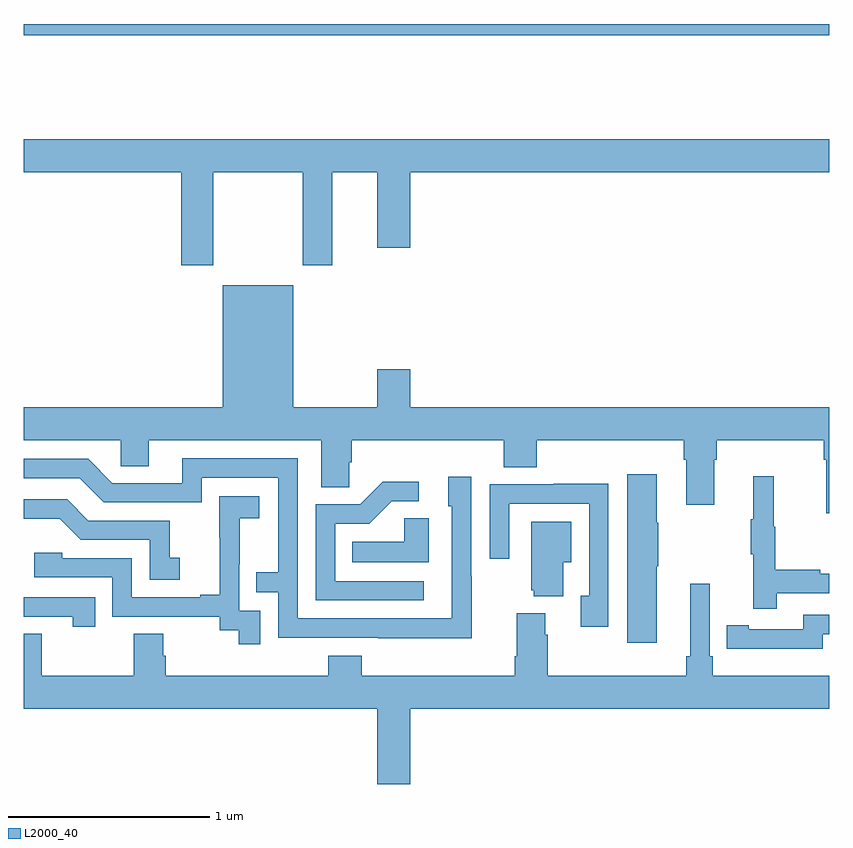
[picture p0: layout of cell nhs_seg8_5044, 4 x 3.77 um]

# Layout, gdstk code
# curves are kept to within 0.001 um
import gdstk
lib = gdstk.Library(unit=1e-6, precision=1e-09)
def R(c, l, rs):  # rectangles x0, y0, x1, y1
    for r in rs: c.add(gdstk.rectangle(r[:2], r[2:], *l))
def P(c, l, *ps):  # polygons
    for p in ps: c.add(gdstk.Polygon(p, *l))
L2000_40 = (2000, 40)

nhs_seg8_5044 = lib.new_cell('nhs_seg8_5044')
R(nhs_seg8_5044, L2000_40, [(415,1119.844,419,1119.9)])
P(nhs_seg8_5044, L2000_40, [(415.941,1119.164),(416.386,1119.164),(416.386,1118.703),(416.533,1118.703),(416.533,1119.164),(416.756,1119.164),(416.756,1118.79),(416.92,1118.79),(416.92,1119.164),(419,1119.164),(419,1119.328),(415,1119.328),(415,1119.164),(415.781,1119.164),(415.781,1118.703),(415.941,1118.703)],
  [(416.92,1118.185),(416.756,1118.185),(416.756,1117.996),(416.338,1117.996),(416.338,1118.602),(415.988,1118.602),(415.988,1117.996),(415,1117.996),(415,1117.832),(415.482,1117.832),(415.482,1117.705),(415.621,1117.705),(415.621,1117.832),(416.477,1117.832),(416.477,1117.6),(416.616,1117.6),(416.616,1117.723),(416.63,1117.723),(416.63,1117.832),(417.383,1117.832),(417.383,1117.699),(417.548,1117.699),(417.548,1117.832),(418.277,1117.832),(418.277,1117.736),(418.289,1117.736),(418.289,1117.512),(418.429,1117.512),(418.429,1117.736),(418.442,1117.736),(418.442,1117.832),(418.973,1117.832),(418.973,1117.736),(418.985,1117.736),(418.985,1117.47),(419,1117.47),(419,1117.996),(416.92,1117.996)],
  [(417.225,1117.157),(417.222,1117.157),(417.222,1117.651),(417.107,1117.651),(417.107,1117.506),(417.126,1117.506),(417.126,1116.948),(416.361,1116.948),(416.361,1117.743),(415.787,1117.743),(415.787,1117.62),(415.44,1117.62),(415.32,1117.74),(415,1117.74),(415,1117.644),(415.278,1117.644),(415.398,1117.524),(415.884,1117.524),(415.884,1117.647),(416.265,1117.647),(416.265,1117.178),(416.155,1117.178),(416.155,1117.077),(416.265,1117.077),(416.265,1116.852),(417.225,1116.851)],
  [(418.144,1117.207),(418.152,1117.207),(418.152,1117.424),(418.144,1117.424),(418.144,1117.663),(417.998,1117.663),(417.998,1116.828),(418.144,1116.828)],
  [(418.739,1117.074),(419,1117.074),(419,1117.17),(418.955,1117.17),(418.955,1117.19),(418.732,1117.19),(418.732,1117.404),(418.724,1117.404),(418.724,1117.654),(418.622,1117.654),(418.622,1117.441),(418.611,1117.441),(418.611,1117.267),(418.622,1117.267),(418.622,1116.996),(418.739,1116.996)],
  [(416.986,1117.134),(416.547,1117.134),(416.547,1117.419),(416.716,1117.419),(416.827,1117.53),(416.962,1117.53),(416.962,1117.628),(416.783,1117.628),(416.67,1117.515),(416.451,1117.515),(416.451,1117.038),(416.986,1117.038)],
  [(417.903,1117.616),(417.631,1117.616),(417.631,1117.614),(417.315,1117.614),(417.315,1117.245),(417.411,1117.245),(417.411,1117.518),(417.807,1117.518),(417.807,1117.062),(417.767,1117.062),(417.767,1116.906),(417.903,1116.906)],
  [(416.175,1116.987),(416.07,1116.987),(416.07,1117.217),(416.072,1117.217),(416.072,1117.445),(416.17,1117.445),(416.17,1117.555),(415.972,1117.555),(415.972,1117.349),(415.973,1117.349),(415.973,1117.066),(415.877,1117.066),(415.877,1117.053),(415.536,1117.053),(415.536,1117.248),(415.191,1117.248),(415.191,1117.275),(415.051,1117.275),(415.051,1117.152),(415.44,1117.152),(415.44,1116.957),(415.974,1116.957),(415.974,1116.889),(416.067,1116.889),(416.067,1116.819),(416.175,1116.819)],
  [(415.774,1117.249),(415.725,1117.249),(415.725,1117.434),(415.321,1117.434),(415.216,1117.539),(415,1117.539),(415,1117.442),(415.18,1117.442),(415.284,1117.338),(415.626,1117.338),(415.626,1117.14),(415.774,1117.14)],
  [(417.01,1117.445),(416.889,1117.445),(416.889,1117.33),(416.632,1117.33),(416.632,1117.226),(417.01,1117.226)],
  [(417.679,1117.226),(417.718,1117.226),(417.718,1117.429),(417.521,1117.429),(417.521,1117.089),(417.533,1117.089),(417.533,1117.058),(417.679,1117.058)],
  [(416.92,1116.5),(419,1116.5),(419,1116.664),(418.421,1116.664),(418.421,1116.76),(418.407,1116.76),(418.407,1117.12),(418.31,1117.12),(418.31,1116.76),(418.291,1116.76),(418.291,1116.664),(417.602,1116.664),(417.602,1116.866),(417.589,1116.866),(417.589,1116.973),(417.449,1116.973),(417.449,1116.76),(417.437,1116.76),(417.437,1116.664),(416.678,1116.664),(416.678,1116.763),(416.513,1116.763),(416.513,1116.664),(415.706,1116.664),(415.706,1116.762),(415.693,1116.762),(415.693,1116.872),(415.546,1116.872),(415.546,1116.664),(415.089,1116.664),(415.089,1116.872),(415,1116.872),(415,1116.5),(416.756,1116.5),(416.756,1116.126),(416.92,1116.126)],
  [(415.355,1117.053),(415,1117.053),(415,1116.957),(415.244,1116.957),(415.244,1116.906),(415.355,1116.906)],
  [(418.968,1116.87),(419,1116.87),(419,1116.966),(418.872,1116.966),(418.872,1116.894),(418.6,1116.894),(418.6,1116.914),(418.492,1116.914),(418.492,1116.798),(418.6,1116.798),(418.6,1116.797),(418.968,1116.797)])

lib.write_gds('nhs_seg8_5044.gds')
